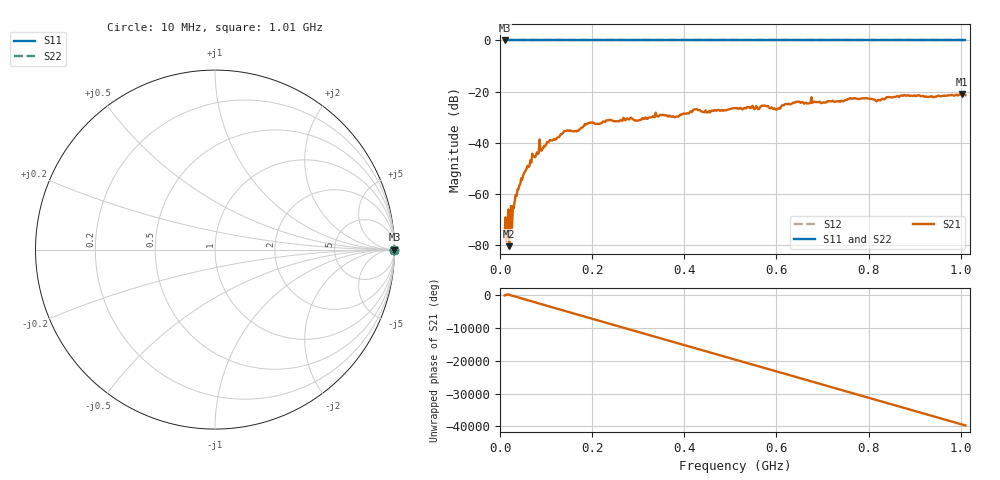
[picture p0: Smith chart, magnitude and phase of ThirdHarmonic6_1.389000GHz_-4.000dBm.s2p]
! 8/16/2025 3:49:07 PM
! C:\ANRITSUVNA\TEMP\TEMP.S2P
! CHANNEL.1
! TR.MEASUREMENT
! RAW.DATA
! RF.CORRECTION.OFF
! AVERAGING.OFF
! IF.BANDWIDTH: 5KHZ
! SWEEPTYPE:  FREQ.SWEEP(Linear)
! Reference Plane Port Info
! PORT:  PORT1  PORT2
! DISTANCE:  0  m  0  m
! TIME:  0  s  0  s
! PHASE.OFFSET:  0  deg.  0  deg.
! LOSS:  0  dB  0  dB
! REF.LOSS:  0  dB  0  dB
! REF.FREQ:  0  Hz  0  Hz
! Power Info
! POWER:  -20  dBm  -20  dBm
! EFF.POWER:  -20  dBm  -20  dBm
! SOURCE.ATTEN:  0  dB  0  dB
! TEST.ATTEN:  0  dB  0  dB
# GHZ S RI R 50.0
! FREQ.GHZ  S11RE  S11IM  S21RE  S21IM  S12RE  S12IM  S22RE  S22IM
!; PortSelection: Port_12
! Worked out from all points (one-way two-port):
!   501 points, 10 MHz to 1.01 GHz, reference 50 ohm
!   highest |S21| = -20.99 dB at 1.002 GHz (marker M1); lowest = -80.5 dB at 20 MHz (marker M2)
!   lowest |S11| = 0.0 dB at 10 MHz (marker M3)
!   |S11| at or under -10 dB: nowhere
!   |S22| runs from 0.0 to 0.0 dB; largest |S21 - S12| = 1.1
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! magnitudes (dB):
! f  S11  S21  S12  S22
! 10 MHz  0.0  -75.9  0.0  0.0
! 14 MHz  0.0  -78.4  0.0  0.0
! 18 MHz  0.0  -66.1  0.0  0.0
! 20 MHz  0.0  -80.5  0.0  0.0
! 24 MHz  0.0  -64.8  0.0  0.0
! 32 MHz  0.0  -62.7  0.0  0.0
! 42 MHz  0.0  -56.6  0.0  0.0
! 70 MHz  0.0  -44.3  0.0  0.0
! 106 MHz  0.0  -39.6  0.0  0.0
! 142 MHz  0.0  -35.4  0.0  0.0
! 178 MHz  0.0  -34.1  0.0  0.0
! 196 MHz  0.0  -32.2  0.0  0.0
! 344 MHz  0.0  -29.7  0.0  0.0
! 510 MHz  0.0  -26.4  0.0  0.0
! 572 MHz  0.0  -25.5  0.0  0.0
! 602 MHz  0.0  -26.7  0.0  0.0
! 622 MHz  0.0  -24.8  0.0  0.0
! 678 MHz  0.0  -24.4  0.0  0.0
! 820 MHz  0.0  -23.3  0.0  0.0
! 844 MHz  0.0  -22.1  0.0  0.0
! 1.002 GHz  0.0  -21.0  0.0  0.0
! 1.01 GHz  0.0  -21.4  0.0  0.0
